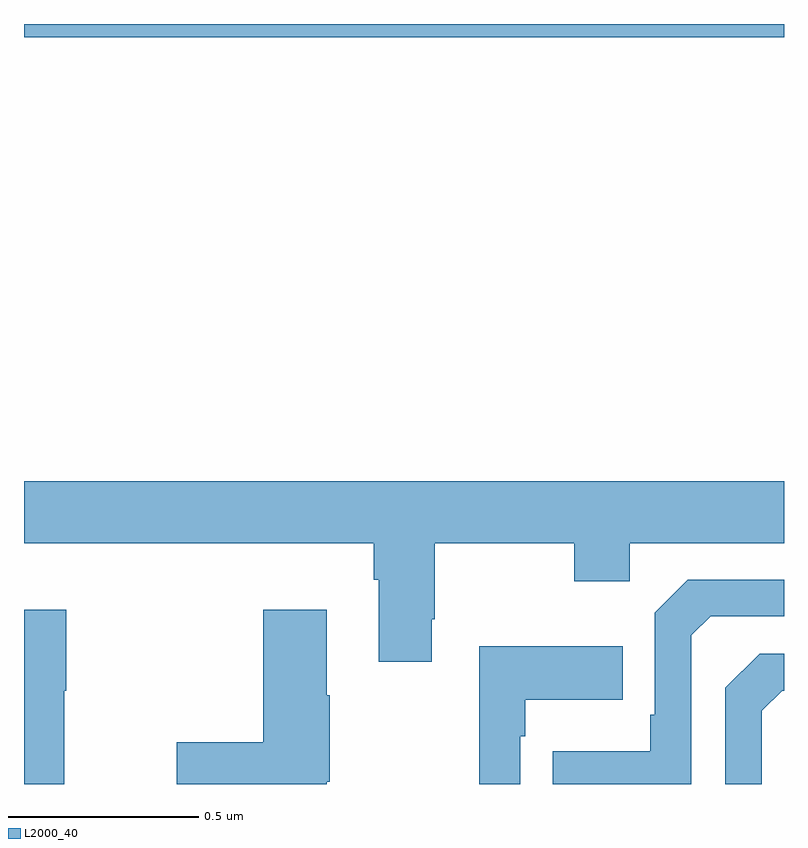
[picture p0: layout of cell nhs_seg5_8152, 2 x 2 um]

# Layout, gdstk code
import gdstk
lib = gdstk.Library(unit=1e-6, precision=1e-09)
def R(c, l, rs):  # rectangles x0, y0, x1, y1
    for r in rs: c.add(gdstk.rectangle(r[:2], r[2:], *l))
def P(c, l, *ps):  # polygons
    for p in ps: c.add(gdstk.Polygon(p, *l))
L2000_40 = (2000, 40)

nhs_seg5_8152 = lib.new_cell('nhs_seg5_8152')
R(nhs_seg5_8152, L2000_40, [(218,852.764,220,852.799)])
P(nhs_seg5_8152, L2000_40, [(219.073,851.233),(219.081,851.233),(219.081,851.432),(219.448,851.432),(219.448,851.333),(219.594,851.333),(219.594,851.432),(220,851.432),(220,851.596),(218,851.596),(218,851.432),(218.921,851.432),(218.921,851.336),(218.933,851.336),(218.933,851.121),(219.073,851.121)],
  [(219.756,851.19),(219.807,851.241),(220,851.241),(220,851.337),(219.747,851.337),(219.66,851.25),(219.66,850.981),(219.648,850.981),(219.648,850.885),(219.391,850.885),(219.391,850.799),(219.756,850.799)],
  [(218.797,850.805),(218.805,850.805),(218.805,851.033),(218.797,851.033),(218.797,851.257),(218.63,851.257),(218.63,850.909),(218.402,850.909),(218.402,850.799),(218.797,850.799)],
  [(218.106,851.044),(218.111,851.044),(218.111,851.257),(218,851.257),(218,850.799),(218.106,850.799)],
  [(219.306,850.925),(219.319,850.925),(219.319,851.021),(219.575,851.021),(219.575,851.161),(219.198,851.161),(219.198,850.799),(219.306,850.799)],
  [(219.942,850.992),(219.995,851.045),(220,851.045),(220,851.142),(219.936,851.142),(219.846,851.052),(219.846,850.799),(219.942,850.799)])

lib.write_gds('nhs_seg5_8152.gds')
